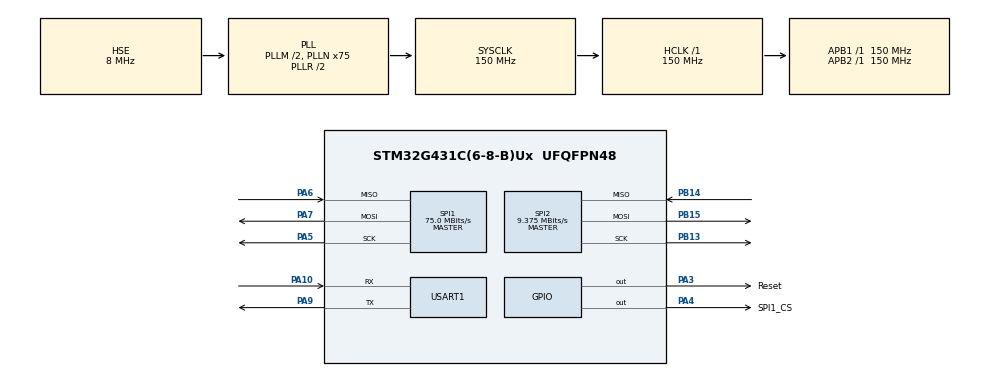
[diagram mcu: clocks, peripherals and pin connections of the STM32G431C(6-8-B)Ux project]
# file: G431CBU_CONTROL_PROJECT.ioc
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FREERTOS.Queues01=QueueRegimCtrl,2,uint32_t,0,Dynamic,NULL,NULL;QueueMotorControl,8,uint32_t,0,Dynamic,NULL,NULL;QueueAimingSignal,4,uint16_t,0,Dynamic,NULL,NULL;QueueMonitoringState,4,uint16_t,0,Dynamic,NULL,NULL
FREERTOS.Tasks01=defaultTask,24,128,StartDefaultTask,Default,NULL,Dynamic,NULL,NULL;RemoteCtrlTask,24,128,RemoteControlTask,Default,NULL,Dynamic,NULL,NULL;AimingCtrlTask,25,128,AimingControlTask,Default,NULL,Dynamic,NULL,NULL
FREERTOS.configENABLE_FPU=1
FREERTOS.configTOTAL_HEAP_SIZE=4048
FREERTOS.configUSE_NEWLIB_REENTRANT=1
Mcu.Family=STM32G4
Mcu.Name=STM32G431C(6-8-B)Ux
Mcu.Package=UFQFPN48
NVIC.PriorityGroup=NVIC_PRIORITYGROUP_4
NVIC.TIM3_IRQn=true\:15\:0\:false\:false\:true\:false\:false\:true\:true
NVIC.TimeBase=TIM3_IRQn
NVIC.TimeBaseIP=TIM3
PA10.Mode=Asynchronous
PA10.Signal=USART1_RX
PA3.GPIO_Label=Reset
PA3.Signal=GPIO_Output
PA4.GPIO_Label=SPI1_CS
PA4.Signal=GPIO_Output
PA5.Mode=Full_Duplex_Master
PA5.Signal=SPI1_SCK
PA6.Mode=Full_Duplex_Master
PA6.Signal=SPI1_MISO
PA7.Mode=Full_Duplex_Master
PA7.Signal=SPI1_MOSI
PA9.Mode=Asynchronous
PA9.Signal=USART1_TX
PB13.Mode=Full_Duplex_Master
PB13.Signal=SPI2_SCK
PB14.Mode=Full_Duplex_Master
PB14.Signal=SPI2_MISO
PB15.Mode=Full_Duplex_Master
PB15.Signal=SPI2_MOSI
PF0-OSC_IN.Mode=HSE-External-Oscillator
PF0-OSC_IN.Signal=RCC_OSC_IN
PF1-OSC_OUT.Mode=HSE-External-Oscillator
PF1-OSC_OUT.Signal=RCC_OSC_OUT
ProjectManager.HeapSize=0x800
ProjectManager.StackSize=0x800
ProjectManager.TargetToolchain=STM32CubeIDE
RCC.ADC12Freq_Value=150000000
RCC.AHBFreq_Value=150000000
RCC.APB1Freq_Value=150000000
RCC.APB1TimFreq_Value=150000000
RCC.APB2Freq_Value=150000000
RCC.APB2TimFreq_Value=150000000
RCC.CortexFreq_Value=150000000
RCC.EXTERNAL_CLOCK_VALUE=12288000
RCC.HCLKFreq_Value=150000000
RCC.HSE_VALUE=8000000
RCC.HSI48_VALUE=48000000
RCC.HSI_VALUE=16000000
RCC.LSE_VALUE=32768
RCC.PLLM=RCC_PLLM_DIV2
RCC.PLLN=75
RCC.PLLSourceVirtual=RCC_PLLSOURCE_HSE
RCC.SYSCLKFreq_VALUE=150000000
RCC.SYSCLKSource=RCC_SYSCLKSOURCE_PLLCLK
RCC.USBFreq_Value=150000000
RCC.VCOOutputFreq_Value=300000000
SPI1.BaudRatePrescaler=SPI_BAUDRATEPRESCALER_2
SPI1.CalculateBaudRate=75.0 MBits/s
SPI1.DataSize=SPI_DATASIZE_8BIT
SPI1.Direction=SPI_DIRECTION_2LINES
SPI1.Mode=SPI_MODE_MASTER
SPI1.VirtualType=VM_MASTER
SPI2.BaudRatePrescaler=SPI_BAUDRATEPRESCALER_16
SPI2.CalculateBaudRate=9.375 MBits/s
SPI2.DataSize=SPI_DATASIZE_8BIT
SPI2.Direction=SPI_DIRECTION_2LINES
SPI2.Mode=SPI_MODE_MASTER
SPI2.VirtualType=VM_MASTER
USART1.VirtualMode-Asynchronous=VM_ASYNC
VP_FATFS_VS_Generic.Mode=User_defined
VP_FREERTOS_VS_CMSIS_V2.Mode=CMSIS_V2
VP_SYS_VS_DBSignals.Mode=DisableDeadBatterySignals
VP_SYS_VS_tim3.Mode=TIM3
board=custom

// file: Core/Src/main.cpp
/* USER CODE BEGIN Header */
/**
  ******************************************************************************
  * @file           : main.c
  * @brief          : Main program body
  ******************************************************************************
  * @attention
  *
  * Copyright (c) 2024 STMicroelectronics.
  * All rights reserved.
  *
  * This software is licensed under terms that can be found in the LICENSE file
  * in the root directory of this software component.
  * If no LICENSE file comes with this software, it is provided AS-IS.
  *
  ******************************************************************************
  */
/* USER CODE END Header */
#include "main.h"
#include "cmsis_os.h"
#include "app_fatfs.h"

/* USER CODE BEGIN Includes */
extern "C"
{
#include "socket.h"
#include "stdio.h"
#include "string.h"
#include "W5500/w5500.h"
}
#include "ControlDataStructs.h"
#include "RemoteControlInterface.h"
/* USER CODE END Includes */

SPI_HandleTypeDef hspi1;
SPI_HandleTypeDef hspi2;

UART_HandleTypeDef huart1;

/* Definitions for defaultTask */
osThreadId_t defaultTaskHandle;
const osThreadAttr_t defaultTask_attributes = {
  .name = "defaultTask",
  .stack_size = 128 * 4,
  .priority = (osPriority_t) osPriorityNormal
};
/* Definitions for RemoteCtrlTask */
osThreadId_t RemoteCtrlTaskHandle;
const osThreadAttr_t RemoteCtrlTask_attributes = {
  .name = "RemoteCtrlTask",
  .stack_size = 128 * 4,
  .priority = (osPriority_t) osPriorityNormal
};
/* Definitions for AimingCtrlTask */
osThreadId_t AimingCtrlTaskHandle;
const osThreadAttr_t AimingCtrlTask_attributes = {
  .name = "AimingCtrlTask",
  .stack_size = 128 * 4
  //.priority = (osPriority_t) osPriorityNormal1,
};
/* Definitions for QueueRegimCtrl */
osMessageQueueId_t QueueRegimCtrlHandle;
const osMessageQueueAttr_t QueueRegimCtrl_attributes = {
  .name = "QueueRegimCtrl"
};
/* Definitions for QueueMotorControl */
osMessageQueueId_t QueueMotorControlHandle;
const osMessageQueueAttr_t QueueMotorControl_attributes = {
  .name = "QueueMotorControl"
};
/* Definitions for QueueAimingSignal */
osMessageQueueId_t QueueAimingSignalHandle;
const osMessageQueueAttr_t QueueAimingSignal_attributes = {
  .name = "QueueAimingSignal"
};
/* Definitions for QueueMonitoringState */
osMessageQueueId_t QueueMonitoringStateHandle;
const osMessageQueueAttr_t QueueMonitoringState_attributes = {
  .name = "QueueMonitoringState"
};

void SystemClock_Config(void);
static void MX_GPIO_Init(void);
static void MX_SPI1_Init(void);
static void MX_USART1_UART_Init(void);
static void MX_SPI2_Init(void);
void StartDefaultTask(void *argument);
void RemoteControlTask(void *argument);
void AimingControlTask(void *argument);

/* USER CODE BEGIN PFP */
char OutputBuffer[100];
/* USER CODE END PFP */

/* USER CODE BEGIN 0 */

int _write(int file, char *ptr, int len)
{
  (void)file;
  int DataIdx;

  for (DataIdx = 0; DataIdx < len; DataIdx++)
  {
	HAL_UART_Transmit_IT(&huart1, (const uint8_t*)ptr, len);
  }
  return len;
}

/* USER CODE END 0 */

int main(void)
{

  /* MCU Configuration--------------------------------------------------------*/

  /* Reset of all peripherals, Initializes the Flash interface and the Systick. */
  HAL_Init();

  /* Configure the system clock */
  SystemClock_Config();

  /* Initialize all configured peripherals */
  MX_GPIO_Init();
  MX_SPI1_Init();
  MX_USART1_UART_Init();
  MX_SPI2_Init();
  //if (MX_FATFS_Init() != APP_OK) {
  //  Error_Handler();
  //}
  /* USER CODE BEGIN 2 */

  printf("START PROGRAM %d ", 10);
  /* USER CODE END 2 */

  /* Init scheduler */
  osKernelInitialize();

  /* Create the queue(s) */
  /* creation of QueueRegimCtrl */
  QueueRegimCtrlHandle = osMessageQueueNew (2, sizeof(AimingRegimStruct), &QueueRegimCtrl_attributes);

  /* creation of QueueMotorControl */
  QueueMotorControlHandle = osMessageQueueNew (8, sizeof(MotorControlCommandStruct), &QueueMotorControl_attributes);

  /* creation of QueueAimingSignal */
  QueueAimingSignalHandle = osMessageQueueNew (4, sizeof(AimingSignalStruct), &QueueAimingSignal_attributes);

  /* creation of QueueMonitoringState */
  QueueMonitoringStateHandle = osMessageQueueNew (4, sizeof(AimingMonitoringStruct), &QueueMonitoringState_attributes);

  /* Create the thread(s) */
  /* creation of defaultTask */
  defaultTaskHandle = osThreadNew(StartDefaultTask, NULL, &defaultTask_attributes);

  /* creation of RemoteCtrlTask */
  RemoteCtrlTaskHandle = osThreadNew(RemoteControlTask, NULL, &RemoteCtrlTask_attributes);

  /* creation of AimingCtrlTask */
  AimingCtrlTaskHandle = osThreadNew(AimingControlTask, NULL, &AimingCtrlTask_attributes);

  /* Start scheduler */
  osKernelStart();

  /* We should never get here as control is now taken by the scheduler */
  /* Infinite loop */
  while (1)
  {

  }
}

void SystemClock_Config(void)
{
  RCC_OscInitTypeDef RCC_OscInitStruct = {0};
  RCC_ClkInitTypeDef RCC_ClkInitStruct = {0};

  /** Configure the main internal regulator output voltage
  */
  HAL_PWREx_ControlVoltageScaling(PWR_REGULATOR_VOLTAGE_SCALE1);

  /** Initializes the RCC Oscillators according to the specified parameters
  * in the RCC_OscInitTypeDef structure.
  */
  RCC_OscInitStruct.OscillatorType = RCC_OSCILLATORTYPE_HSE;
  RCC_OscInitStruct.HSEState = RCC_HSE_ON;
  RCC_OscInitStruct.PLL.PLLState = RCC_PLL_ON;
  RCC_OscInitStruct.PLL.PLLSource = RCC_PLLSOURCE_HSE;
  RCC_OscInitStruct.PLL.PLLM = RCC_PLLM_DIV2;
  RCC_OscInitStruct.PLL.PLLN = 75;
  RCC_OscInitStruct.PLL.PLLP = RCC_PLLP_DIV2;
  RCC_OscInitStruct.PLL.PLLQ = RCC_PLLQ_DIV2;
  RCC_OscInitStruct.PLL.PLLR = RCC_PLLR_DIV2;
  if (HAL_RCC_OscConfig(&RCC_OscInitStruct) != HAL_OK)
  {
    Error_Handler();
  }

  /** Initializes the CPU, AHB and APB buses clocks
  */
  RCC_ClkInitStruct.ClockType = RCC_CLOCKTYPE_HCLK|RCC_CLOCKTYPE_SYSCLK
                              |RCC_CLOCKTYPE_PCLK1|RCC_CLOCKTYPE_PCLK2;
  RCC_ClkInitStruct.SYSCLKSource = RCC_SYSCLKSOURCE_PLLCLK;
  RCC_ClkInitStruct.AHBCLKDivider = RCC_SYSCLK_DIV1;
  RCC_ClkInitStruct.APB1CLKDivider = RCC_HCLK_DIV1;
  RCC_ClkInitStruct.APB2CLKDivider = RCC_HCLK_DIV1;

  if (HAL_RCC_ClockConfig(&RCC_ClkInitStruct, FLASH_LATENCY_4) != HAL_OK)
  {
    Error_Handler();
  }
}

static void MX_SPI1_Init(void)
{

  /* SPI1 parameter configuration*/
  hspi1.Instance = SPI1;
  hspi1.Init.Mode = SPI_MODE_MASTER;
  hspi1.Init.Direction = SPI_DIRECTION_2LINES;
  hspi1.Init.DataSize = SPI_DATASIZE_8BIT;
  hspi1.Init.CLKPolarity = SPI_POLARITY_LOW;
  hspi1.Init.CLKPhase = SPI_PHASE_1EDGE;
  hspi1.Init.NSS = SPI_NSS_SOFT;
  hspi1.Init.BaudRatePrescaler = SPI_BAUDRATEPRESCALER_2;
  hspi1.Init.FirstBit = SPI_FIRSTBIT_MSB;
  hspi1.Init.TIMode = SPI_TIMODE_DISABLE;
  hspi1.Init.CRCCalculation = SPI_CRCCALCULATION_DISABLE;
  hspi1.Init.CRCPolynomial = 7;
  hspi1.Init.CRCLength = SPI_CRC_LENGTH_DATASIZE;
  hspi1.Init.NSSPMode = SPI_NSS_PULSE_ENABLE;
  if (HAL_SPI_Init(&hspi1) != HAL_OK)
  {
    Error_Handler();
  }

}

static void MX_SPI2_Init(void)
{

  /* SPI2 parameter configuration*/
  hspi2.Instance = SPI2;
  hspi2.Init.Mode = SPI_MODE_MASTER;
  hspi2.Init.Direction = SPI_DIRECTION_2LINES;
  hspi2.Init.DataSize = SPI_DATASIZE_8BIT;
  hspi2.Init.CLKPolarity = SPI_POLARITY_LOW;
  hspi2.Init.CLKPhase = SPI_PHASE_1EDGE;
  hspi2.Init.NSS = SPI_NSS_SOFT;
  hspi2.Init.BaudRatePrescaler = SPI_BAUDRATEPRESCALER_16;
  hspi2.Init.FirstBit = SPI_FIRSTBIT_MSB;
  hspi2.Init.TIMode = SPI_TIMODE_DISABLE;
  hspi2.Init.CRCCalculation = SPI_CRCCALCULATION_DISABLE;
  hspi2.Init.CRCPolynomial = 7;
  hspi2.Init.CRCLength = SPI_CRC_LENGTH_DATASIZE;
  hspi2.Init.NSSPMode = SPI_NSS_PULSE_ENABLE;
  if (HAL_SPI_Init(&hspi2) != HAL_OK)
  {
    Error_Handler();
  }

}

static void MX_USART1_UART_Init(void)
{

  huart1.Instance = USART1;
  huart1.Init.BaudRate = 115200;
  huart1.Init.WordLength = UART_WORDLENGTH_8B;
  huart1.Init.StopBits = UART_STOPBITS_1;
  huart1.Init.Parity = UART_PARITY_NONE;
  huart1.Init.Mode = UART_MODE_TX_RX;
  huart1.Init.HwFlowCtl = UART_HWCONTROL_NONE;
  huart1.Init.OverSampling = UART_OVERSAMPLING_16;
  huart1.Init.OneBitSampling = UART_ONE_BIT_SAMPLE_DISABLE;
  huart1.Init.ClockPrescaler = UART_PRESCALER_DIV1;
  huart1.AdvancedInit.AdvFeatureInit = UART_ADVFEATURE_NO_INIT;
  if (HAL_UART_Init(&huart1) != HAL_OK)
  {
    Error_Handler();
  }
  if (HAL_UARTEx_SetTxFifoThreshold(&huart1, UART_TXFIFO_THRESHOLD_1_8) != HAL_OK)
  {
    Error_Handler();
  }
  if (HAL_UARTEx_SetRxFifoThreshold(&huart1, UART_RXFIFO_THRESHOLD_1_8) != HAL_OK)
  {
    Error_Handler();
  }
  if (HAL_UARTEx_DisableFifoMode(&huart1) != HAL_OK)
  {
    Error_Handler();
  }

}

static void MX_GPIO_Init(void)
{
  GPIO_InitTypeDef GPIO_InitStruct = {0};

  /* GPIO Ports Clock Enable */
  __HAL_RCC_GPIOF_CLK_ENABLE();
  __HAL_RCC_GPIOA_CLK_ENABLE();
  __HAL_RCC_GPIOB_CLK_ENABLE();

  /*Configure GPIO pin Output Level */
  HAL_GPIO_WritePin(GPIOA, Reset_Pin|SPI1_CS_Pin, GPIO_PIN_RESET);

  /*Configure GPIO pins : Reset_Pin SPI1_CS_Pin */
  GPIO_InitStruct.Pin = Reset_Pin|SPI1_CS_Pin;
  GPIO_InitStruct.Mode = GPIO_MODE_OUTPUT_PP;
  GPIO_InitStruct.Pull = GPIO_NOPULL;
  GPIO_InitStruct.Speed = GPIO_SPEED_FREQ_LOW;
  HAL_GPIO_Init(GPIOA, &GPIO_InitStruct);

}

/* USER CODE BEGIN 4 */

void DebugMessage(char* Mess)
{
	HAL_UART_Transmit_IT(&huart1, (const uint8_t*)Mess, strlen(Mess));
	HAL_Delay(10);
}

void DebugMessageBuff()
{
	HAL_UART_Transmit_IT(&huart1, (const uint8_t*)OutputBuffer, strlen(OutputBuffer));
	HAL_Delay(10);
}

/* USER CODE END 4 */

void StartDefaultTask(void *argument)
{
  for(;;)
  {
    osDelay(1);
  }
}

void RemoteControlTask(void *argument)
{
  /* USER CODE BEGIN RemoteControlTask */

  RemoteControlInterface ControlInterface;
  ControlInterface.INIT_INTERFACE();
  ControlInterface.RUN_INTERFACE();
  /* Infinite loop */
  //for(;;)
  //{
  //  osDelay(1);
  //}
  /* USER CODE END RemoteControlTask */
}

void AimingControlTask(void *argument)
{
  for(;;)
  {
    osDelay(1);
  }
}

void HAL_TIM_PeriodElapsedCallback(TIM_HandleTypeDef *htim)
{
  if (htim->Instance == TIM3) {
    HAL_IncTick();
  }
}

void Error_Handler(void)
{
  __disable_irq();
  while (1)
  {
  }
}
